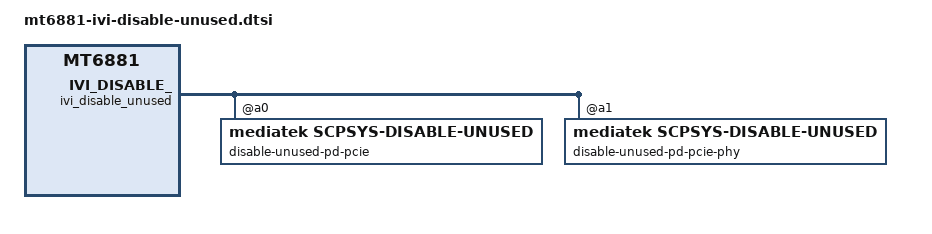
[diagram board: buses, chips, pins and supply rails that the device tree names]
// SPDX-License-Identifier: (GPL-2.0 OR MIT)
/*
 * Copyright (C) 2025 MediaTek Inc.
 * Author: Qiqi Wang <qiqi.wang@mediatek.com>
 */

&ivi_disable_unused {
	status = "okay";

	disable-unused-pd-pcie@a0 {
		compatible = "mediatek,scpsys-disable-unused";
		reg = <0xa0>;
		power-domains = <&ivi_scpsys  MT6881_POWER_DOMAIN_PCIE>;
	};
	disable-unused-pd-pcie-phy@a1 {
		compatible = "mediatek,scpsys-disable-unused";
		reg = <0xa1>;
		power-domains = <&ivi_scpsys  MT6881_POWER_DOMAIN_PCIE_PHY>;
	};
};
